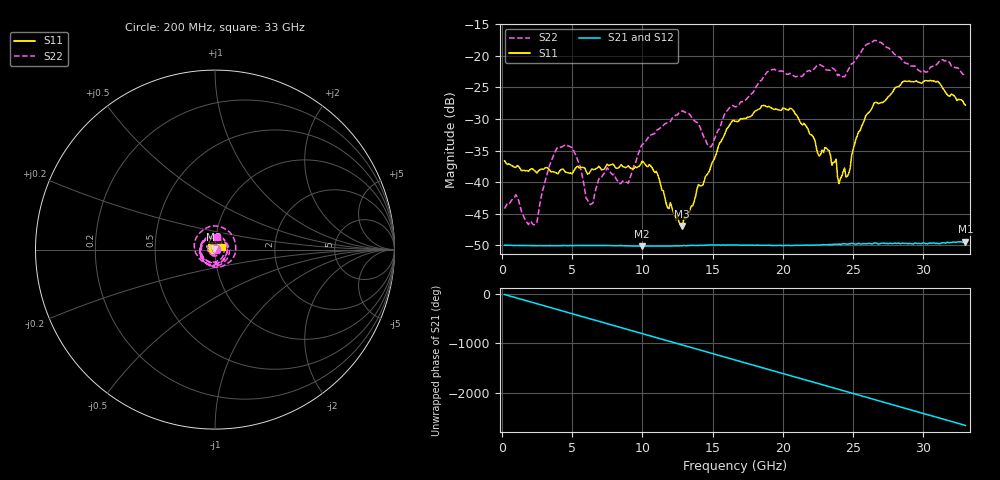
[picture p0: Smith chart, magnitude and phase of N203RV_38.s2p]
# GHZ S RI R 50
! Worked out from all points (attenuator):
!   329 points, 200 MHz to 33 GHz, reference 50 ohm
!   highest |S21| = -49.41 dB at 33 GHz (marker M1); lowest = -50.1 dB at 10 GHz (marker M2)
!   lowest |S11| = -46.9 dB at 12.8 GHz (marker M3), VSWR 1.01, Z = 49.6 + j0.146 ohm
!   |S11| at or under -10 dB: start of sweep to end of sweep
!   |S22| runs from -46.8 to -17.6 dB; largest |S21 - S12| = 7.2e-05
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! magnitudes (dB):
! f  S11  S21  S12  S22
! 200 MHz  -36.6  -50.0  -50.0  -44.2
! 1 GHz  -37.7  -50.0  -50.0  -42.0
! 2.5 GHz  -38.5  -50.0  -50.0  -46.4
! 4 GHz  -38.7  -50.0  -50.0  -34.5
! 5.7 GHz  -37.6  -50.0  -50.0  -38.7
! 6.3 GHz  -38.3  -50.0  -50.0  -43.5
! 7.5 GHz  -37.1  -50.0  -50.0  -37.7
! 9 GHz  -37.4  -50.1  -50.1  -40.1
! 10 GHz  -36.7  -50.1  -50.1  -34.0
! 11.2 GHz  -39.5  -50.1  -50.1  -31.5
! 12.8 GHz  -46.9  -50.1  -50.0  -28.8
! 14.9 GHz  -37.3  -50.0  -49.9  -34.4
! 16.6 GHz  -30.4  -49.9  -49.9  -28.1
! 18.9 GHz  -28.1  -50.0  -50.0  -22.5
! 20.6 GHz  -28.3  -50.0  -50.0  -22.9
! 22.1 GHz  -32.6  -50.0  -49.9  -22.4
! 23.8 GHz  -36.4  -49.8  -49.8  -22.5
! 24 GHz  -40.2  -49.8  -49.8  -22.9
! 25.9 GHz  -29.5  -49.7  -49.8  -18.3
! 27.6 GHz  -26.3  -49.7  -49.7  -18.9
! 31 GHz  -24.0  -49.7  -49.6  -21.3
! 33 GHz  -27.8  -49.4  -49.4  -23.2
